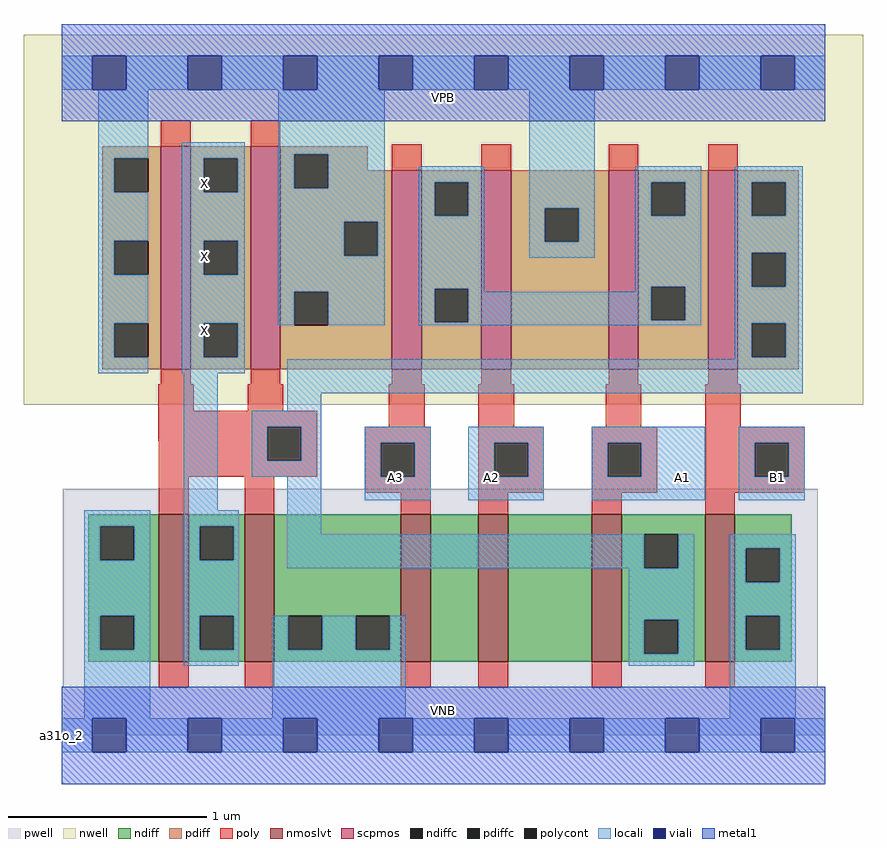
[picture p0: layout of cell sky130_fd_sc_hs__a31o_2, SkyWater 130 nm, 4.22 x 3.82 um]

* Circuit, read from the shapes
.subckt sky130_fd_sc_hs__a31o_2 A1 A2 A3 B1 VGND VNB VPB VPWR X
XM1 X n1 VGND VNB sky130_fd_pr__nfet_01v8_lvt w=0.74 l=0.15 m=2
XM2 n2 A3 VGND VNB sky130_fd_pr__nfet_01v8_lvt w=0.74 l=0.15
XM3 n3 A2 n2 VNB sky130_fd_pr__nfet_01v8_lvt w=0.74 l=0.15
XM4 n1 A1 n3 VNB sky130_fd_pr__nfet_01v8_lvt w=0.74 l=0.15
XM5 VGND B1 n1 VNB sky130_fd_pr__nfet_01v8_lvt w=0.74 l=0.15
XM6 X n1 VPWR VPB sky130_fd_pr__pfet_01v8 w=1.12 l=0.15 m=2
XM7 n4 A3 VPWR VPB sky130_fd_pr__pfet_01v8 w=1 l=0.15
XM8 VPWR A2 n4 VPB sky130_fd_pr__pfet_01v8 w=1 l=0.15
XM9 n4 A1 VPWR VPB sky130_fd_pr__pfet_01v8 w=1 l=0.15
XM10 n1 B1 n4 VPB sky130_fd_pr__pfet_01v8 w=1 l=0.15
.ends

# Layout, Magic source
magic
tech sky130A
magscale 1 2
<< nwell >>
rect -38 332 806 704
<< pwell >>
rect 1 49 760 248
rect 0 0 768 49
<< scpmos >>
rect 100 368 130 592
rect 190 368 220 592
rect 332 368 362 568
rect 422 368 452 568
rect 550 368 580 568
rect 650 368 680 568
<< nmoslvt >>
rect 98 74 128 222
rect 184 74 214 222
rect 341 74 371 222
rect 419 74 449 222
rect 533 74 563 222
rect 647 74 677 222
<< ndiff >>
rect 27 210 98 222
rect 27 176 39 210
rect 73 176 98 210
rect 27 120 98 176
rect 27 86 39 120
rect 73 86 98 120
rect 27 74 98 86
rect 128 210 184 222
rect 128 176 139 210
rect 173 176 184 210
rect 128 120 184 176
rect 128 86 139 120
rect 173 86 184 120
rect 128 74 184 86
rect 214 120 341 222
rect 214 86 228 120
rect 262 86 296 120
rect 330 86 341 120
rect 214 74 341 86
rect 371 74 419 222
rect 449 74 533 222
rect 563 202 647 222
rect 563 168 586 202
rect 620 168 647 202
rect 563 116 647 168
rect 563 82 586 116
rect 620 82 647 116
rect 563 74 647 82
rect 677 188 734 222
rect 677 154 688 188
rect 722 154 734 188
rect 677 120 734 154
rect 677 86 688 120
rect 722 86 734 120
rect 677 74 734 86
<< pdiff >>
rect 41 580 100 592
rect 41 546 53 580
rect 87 546 100 580
rect 41 497 100 546
rect 41 463 53 497
rect 87 463 100 497
rect 41 414 100 463
rect 41 380 53 414
rect 87 380 100 414
rect 41 368 100 380
rect 130 580 190 592
rect 130 546 143 580
rect 177 546 190 580
rect 130 497 190 546
rect 130 463 143 497
rect 177 463 190 497
rect 130 414 190 463
rect 130 380 143 414
rect 177 380 190 414
rect 130 368 190 380
rect 220 584 308 592
rect 220 550 234 584
rect 268 568 308 584
rect 268 550 332 568
rect 220 516 332 550
rect 220 482 284 516
rect 318 482 332 516
rect 220 446 332 482
rect 220 412 234 446
rect 268 412 332 446
rect 220 368 332 412
rect 362 556 422 568
rect 362 522 375 556
rect 409 522 422 556
rect 362 449 422 522
rect 362 415 375 449
rect 409 415 422 449
rect 362 368 422 415
rect 452 530 550 568
rect 452 496 486 530
rect 520 496 550 530
rect 452 368 550 496
rect 580 556 650 568
rect 580 522 593 556
rect 627 522 650 556
rect 580 451 650 522
rect 580 417 593 451
rect 627 417 650 451
rect 580 368 650 417
rect 680 556 741 568
rect 680 522 694 556
rect 728 522 741 556
rect 680 485 741 522
rect 680 451 694 485
rect 728 451 741 485
rect 680 414 741 451
rect 680 380 694 414
rect 728 380 741 414
rect 680 368 741 380
<< ndiffc >>
rect 39 176 73 210
rect 39 86 73 120
rect 139 176 173 210
rect 139 86 173 120
rect 228 86 262 120
rect 296 86 330 120
rect 586 168 620 202
rect 586 82 620 116
rect 688 154 722 188
rect 688 86 722 120
<< pdiffc >>
rect 53 546 87 580
rect 53 463 87 497
rect 53 380 87 414
rect 143 546 177 580
rect 143 463 177 497
rect 143 380 177 414
rect 234 550 268 584
rect 284 482 318 516
rect 234 412 268 446
rect 375 522 409 556
rect 375 415 409 449
rect 486 496 520 530
rect 593 522 627 556
rect 593 417 627 451
rect 694 522 728 556
rect 694 451 728 485
rect 694 380 728 414
<< poly >>
rect 100 592 130 618
rect 190 592 220 618
rect 332 568 362 594
rect 422 568 452 594
rect 550 568 580 594
rect 650 568 680 594
rect 100 353 130 368
rect 190 353 220 368
rect 332 353 362 368
rect 422 353 452 368
rect 550 353 580 368
rect 650 353 680 368
rect 97 326 133 353
rect 187 326 223 353
rect 97 310 257 326
rect 329 310 365 353
rect 419 310 455 353
rect 547 310 583 353
rect 647 310 683 353
rect 97 296 207 310
rect 98 276 207 296
rect 241 276 257 310
rect 98 260 257 276
rect 305 294 371 310
rect 305 260 321 294
rect 355 260 371 294
rect 98 222 128 260
rect 184 222 214 260
rect 305 244 371 260
rect 341 222 371 244
rect 419 294 485 310
rect 419 260 435 294
rect 469 260 485 294
rect 419 244 485 260
rect 533 294 599 310
rect 533 260 549 294
rect 583 260 599 294
rect 533 244 599 260
rect 647 294 747 310
rect 647 260 697 294
rect 731 260 747 294
rect 647 244 747 260
rect 419 222 449 244
rect 533 222 563 244
rect 647 222 677 244
rect 98 48 128 74
rect 184 48 214 74
rect 341 48 371 74
rect 419 48 449 74
rect 533 48 563 74
rect 647 48 677 74
<< polycont >>
rect 207 276 241 310
rect 321 260 355 294
rect 435 260 469 294
rect 549 260 583 294
rect 697 260 731 294
<< locali >>
rect 0 649 31 683
rect 65 649 127 683
rect 161 649 223 683
rect 257 649 319 683
rect 353 649 415 683
rect 449 649 511 683
rect 545 649 607 683
rect 641 649 703 683
rect 737 649 768 683
rect 37 580 87 649
rect 37 546 53 580
rect 37 497 87 546
rect 37 463 53 497
rect 37 414 87 463
rect 37 380 53 414
rect 37 364 87 380
rect 121 580 184 596
rect 121 546 143 580
rect 177 546 184 580
rect 121 497 184 546
rect 121 463 143 497
rect 177 463 184 497
rect 121 414 184 463
rect 121 380 143 414
rect 177 380 184 414
rect 218 584 325 649
rect 218 550 234 584
rect 268 550 325 584
rect 218 516 325 550
rect 218 482 284 516
rect 318 482 325 516
rect 218 446 325 482
rect 218 412 234 446
rect 268 412 325 446
rect 359 556 425 572
rect 359 522 375 556
rect 409 522 425 556
rect 359 449 425 522
rect 470 530 536 649
rect 470 496 486 530
rect 520 496 536 530
rect 470 480 536 496
rect 577 556 643 572
rect 577 522 593 556
rect 627 522 643 556
rect 359 415 375 449
rect 409 446 425 449
rect 577 451 643 522
rect 577 446 593 451
rect 409 417 593 446
rect 627 417 643 451
rect 409 415 643 417
rect 359 412 643 415
rect 677 556 745 572
rect 677 522 694 556
rect 728 522 745 556
rect 677 485 745 522
rect 677 451 694 485
rect 728 451 745 485
rect 677 414 745 451
rect 121 364 184 380
rect 677 380 694 414
rect 728 380 745 414
rect 677 378 745 380
rect 123 226 157 364
rect 227 344 745 378
rect 227 326 261 344
rect 191 310 261 326
rect 191 276 207 310
rect 241 276 261 310
rect 191 260 261 276
rect 23 210 89 226
rect 23 176 39 210
rect 73 176 89 210
rect 23 120 89 176
rect 23 86 39 120
rect 73 86 89 120
rect 23 17 89 86
rect 123 210 178 226
rect 123 176 139 210
rect 173 176 178 210
rect 123 120 178 176
rect 227 202 261 260
rect 305 294 371 310
rect 305 260 321 294
rect 355 260 371 294
rect 305 236 371 260
rect 409 294 485 310
rect 409 260 435 294
rect 469 260 485 294
rect 409 236 485 260
rect 533 294 647 310
rect 533 260 549 294
rect 583 260 647 294
rect 533 236 647 260
rect 681 294 747 310
rect 681 260 697 294
rect 731 260 747 294
rect 681 236 747 260
rect 227 168 586 202
rect 620 168 636 202
rect 123 86 139 120
rect 173 86 178 120
rect 123 70 178 86
rect 212 86 228 120
rect 262 86 296 120
rect 330 86 346 120
rect 212 17 346 86
rect 570 116 636 168
rect 570 82 586 116
rect 620 82 636 116
rect 570 70 636 82
rect 672 188 738 202
rect 672 154 688 188
rect 722 154 738 188
rect 672 120 738 154
rect 672 86 688 120
rect 722 86 738 120
rect 672 17 738 86
rect 0 -17 31 17
rect 65 -17 127 17
rect 161 -17 223 17
rect 257 -17 319 17
rect 353 -17 415 17
rect 449 -17 511 17
rect 545 -17 607 17
rect 641 -17 703 17
rect 737 -17 768 17
<< viali >>
rect 31 649 65 683
rect 127 649 161 683
rect 223 649 257 683
rect 319 649 353 683
rect 415 649 449 683
rect 511 649 545 683
rect 607 649 641 683
rect 703 649 737 683
rect 31 -17 65 17
rect 127 -17 161 17
rect 223 -17 257 17
rect 319 -17 353 17
rect 415 -17 449 17
rect 511 -17 545 17
rect 607 -17 641 17
rect 703 -17 737 17
<< metal1 >>
rect 0 683 768 715
rect 0 649 31 683
rect 65 649 127 683
rect 161 649 223 683
rect 257 649 319 683
rect 353 649 415 683
rect 449 649 511 683
rect 545 649 607 683
rect 641 649 703 683
rect 737 649 768 683
rect 0 617 768 649
rect 0 17 768 49
rect 0 -17 31 17
rect 65 -17 127 17
rect 161 -17 223 17
rect 257 -17 319 17
rect 353 -17 415 17
rect 449 -17 511 17
rect 545 -17 607 17
rect 641 -17 703 17
rect 737 -17 768 17
rect 0 -49 768 -17
<< labels >>
rlabel comment s 0 0 0 0 4 a31o_2
flabel pwell s 0 0 768 49 0 FreeSans 200 0 0 0 VNB
port 6 nsew ground bidirectional
flabel nwell s 0 617 768 666 0 FreeSans 200 0 0 0 VPB
port 7 nsew power bidirectional
flabel metal1 s 0 617 768 666 0 FreeSans 340 0 0 0 VPWR
port 8 nsew power bidirectional
flabel metal1 s 0 0 768 49 0 FreeSans 340 0 0 0 VGND
port 5 nsew ground bidirectional
flabel locali s 607 242 641 276 0 FreeSans 340 0 0 0 A1
port 1 nsew signal input
flabel locali s 415 242 449 276 0 FreeSans 340 0 0 0 A2
port 2 nsew signal input
flabel locali s 319 242 353 276 0 FreeSans 340 0 0 0 A3
port 3 nsew signal input
flabel locali s 703 242 737 276 0 FreeSans 340 0 0 0 B1
port 4 nsew signal input
flabel locali s 127 390 161 424 0 FreeSans 340 0 0 0 X
port 9 nsew signal output
flabel locali s 127 464 161 498 0 FreeSans 340 0 0 0 X
port 9 nsew signal output
flabel locali s 127 538 161 572 0 FreeSans 340 0 0 0 X
port 9 nsew signal output
<< properties >>
string LEFsite unit
string LEFclass CORE
string FIXED_BBOX 0 0 768 666
string GDS_FILE $PDKPATH/libs.ref/sky130_fd_sc_hs/gds/sky130_fd_sc_hs.gds
string LEFsymmetry X Y
string GDS_END 1536892
string GDS_START 1529886
<< end >>
